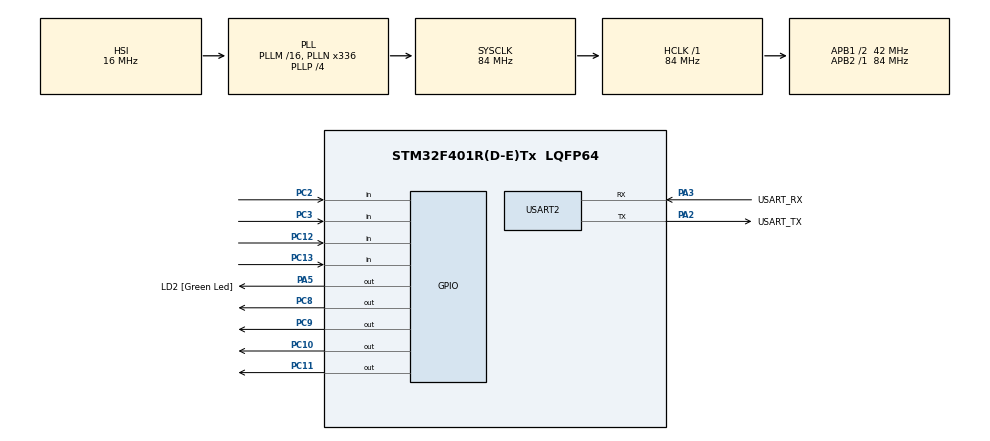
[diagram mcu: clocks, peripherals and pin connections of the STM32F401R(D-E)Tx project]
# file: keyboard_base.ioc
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Mcu.Family=STM32F4
Mcu.Name=STM32F401R(D-E)Tx
Mcu.Package=LQFP64
NVIC.PriorityGroup=NVIC_PRIORITYGROUP_0
PA13.GPIO_Label=TMS
PA13.Mode=Serial_Wire
PA13.Signal=SYS_JTMS-SWDIO
PA14.GPIO_Label=TCK
PA14.Mode=Serial_Wire
PA14.Signal=SYS_JTCK-SWCLK
PA2.GPIO_Label=USART_TX
PA2.GPIO_Mode=GPIO_MODE_AF_PP
PA2.GPIO_PuPd=GPIO_NOPULL
PA2.GPIO_Speed=GPIO_SPEED_FREQ_LOW
PA2.Mode=Asynchronous
PA2.Signal=USART2_TX
PA3.GPIO_Label=USART_RX
PA3.GPIO_Mode=GPIO_MODE_AF_PP
PA3.GPIO_PuPd=GPIO_NOPULL
PA3.GPIO_Speed=GPIO_SPEED_FREQ_LOW
PA3.Mode=Asynchronous
PA3.Signal=USART2_RX
PA5.GPIO_Label=LD2 [Green Led]
PA5.GPIO_Mode=GPIO_MODE_OUTPUT_PP
PA5.GPIO_PuPd=GPIO_NOPULL
PA5.GPIO_Speed=GPIO_SPEED_FREQ_LOW
PA5.Signal=GPIO_Output
PB3.GPIO_Label=SWO
PB3.Signal=SYS_JTDO-SWO
PC10.Signal=GPIO_Output
PC11.Signal=GPIO_Output
PC12.Signal=GPIO_Input
PC13-ANTI_TAMP.Signal=GPIO_Input
PC14-OSC32_IN.Mode=LSE-External-Oscillator
PC14-OSC32_IN.Signal=RCC_OSC32_IN
PC15-OSC32_OUT.Mode=LSE-External-Oscillator
PC15-OSC32_OUT.Signal=RCC_OSC32_OUT
PC2.Signal=GPIO_Input
PC3.Signal=GPIO_Input
PC8.Signal=GPIO_Output
PC9.Signal=GPIO_Output
PH0\ -\ OSC_IN.Mode=HSE-External-Clock-Source
PH0\ -\ OSC_IN.Signal=RCC_OSC_IN
PH1\ -\ OSC_OUT.Mode=HSE-External-Clock-Source
PH1\ -\ OSC_OUT.Signal=RCC_OSC_OUT
ProjectManager.HeapSize=0x200
ProjectManager.StackSize=0x400
ProjectManager.TargetToolchain=STM32CubeIDE
RCC.48MHZClocksFreq_Value=48000000
RCC.AHBFreq_Value=84000000
RCC.APB1CLKDivider=RCC_HCLK_DIV2
RCC.APB1Freq_Value=42000000
RCC.APB1TimFreq_Value=84000000
RCC.APB2Freq_Value=84000000
RCC.APB2TimFreq_Value=84000000
RCC.CortexFreq_Value=84000000
RCC.HCLKFreq_Value=84000000
RCC.HSE_VALUE=8000000
RCC.HSI_VALUE=16000000
RCC.PLLN=336
RCC.PLLP=RCC_PLLP_DIV4
RCC.PLLQ=7
RCC.SYSCLKFreq_VALUE=84000000
RCC.SYSCLKSource=RCC_SYSCLKSOURCE_PLLCLK
RCC.VCOOutputFreq_Value=336000000
USART2.VirtualMode=VM_ASYNC
board=NUCLEO-F401RE

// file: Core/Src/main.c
/* USER CODE BEGIN Header */
/**
  ******************************************************************************
  * @file           : main.c
  * @brief          : Main program body
  ******************************************************************************
  * @attention
  *
  * <h2><center>&copy; Copyright (c) 2021 STMicroelectronics.
  * All rights reserved.</center></h2>
  *
  * This software component is licensed by ST under BSD 3-Clause license,
  * the "License"; You may not use this file except in compliance with the
  * License. You may obtain a copy of the License at:
  *                        opensource.org/licenses/BSD-3-Clause
  *
  ******************************************************************************
  */
/* USER CODE END Header */
#include "main.h"

/* USER CODE BEGIN PD */

/*
 * Row inputs
 */
//#define ROW1 GPIOC, GPIO_PIN_12
//#define ROW2 GPIOC, GPIO_PIN_13
//#define ROW3 GPIOC, GPIO_PIN_2
//#define ROW4 GPIOC, GPIO_PIN_3

/*
 * Column outputs
 */
//#define COL1 GPIOC, GPIO_PIN_8
//#define COL2 GPIOC, GPIO_PIN_9
//#define COL3 GPIOC, GPIO_PIN_10
//#define COL4 GPIOC, GPIO_PIN_11

#define ROW_NUM 4
#define COL_NUM 4

/* USER CODE END PD */

UART_HandleTypeDef huart2;

/* USER CODE BEGIN PV */
typedef struct {
	GPIO_TypeDef* port;
	uint16_t pin;
}GPIO_Tuple;

GPIO_Tuple ROW0 = {GPIOC, GPIO_PIN_12};
GPIO_Tuple ROW1 = {GPIOC, GPIO_PIN_13};
GPIO_Tuple ROW2 = {GPIOC, GPIO_PIN_2};
GPIO_Tuple ROW3 = {GPIOC, GPIO_PIN_3};

GPIO_Tuple ROWS[4];

GPIO_Tuple COL0 = {GPIOC, GPIO_PIN_8};
GPIO_Tuple COL1 = {GPIOC, GPIO_PIN_9};
GPIO_Tuple COL2 = {GPIOC, GPIO_PIN_10};
GPIO_Tuple COL3 = {GPIOC, GPIO_PIN_11};

GPIO_Tuple COLS[4];

char SYMBOLS[4][4];

/* USER CODE END PV */

void SystemClock_Config(void);
static void MX_GPIO_Init(void);
static void MX_USART2_UART_Init(void);

/* USER CODE BEGIN 0 */
void rows_Init(){
	ROWS[0] = ROW0;
	ROWS[1] = ROW1;
	ROWS[2] = ROW2;
	ROWS[3] = ROW3;
}

void columns_Init(){
	COLS[0] = COL0;
	COLS[1] = COL1;
	COLS[2] = COL2;
	COLS[3] = COL3;
}

void symbols_Init(){
	SYMBOLS[0][0] = '0';
	SYMBOLS[0][1] = '1';
	SYMBOLS[0][2] = '2';
	SYMBOLS[0][3] = '3';
	SYMBOLS[1][0] = '4';
	SYMBOLS[1][1] = '5';
	SYMBOLS[1][2] = '6';
	SYMBOLS[1][3] = '7';
	SYMBOLS[2][0] = '8';
	SYMBOLS[2][1] = '9';
	SYMBOLS[2][2] = 'A';
	SYMBOLS[2][3] = 'B';
	SYMBOLS[3][0] = 'C';
	SYMBOLS[3][1] = 'D';
	SYMBOLS[3][2] = 'E';
	SYMBOLS[3][3] = 'F';
}
/* USER CODE END 0 */

int main(void)
{

  /* MCU Configuration--------------------------------------------------------*/

  /* Reset of all peripherals, Initializes the Flash interface and the Systick. */
  HAL_Init();

  /* Configure the system clock */
  SystemClock_Config();

  /* USER CODE BEGIN SysInit */
  rows_Init();
  columns_Init();
  symbols_Init();
  /* USER CODE END SysInit */

  /* Initialize all configured peripherals */
  MX_GPIO_Init();
  MX_USART2_UART_Init();
  /* USER CODE BEGIN 2 */

  uint8_t buffer[100];
  uint8_t buflen = 0;
  uint8_t isPressed = 0;
  uint8_t longPress[4][4] = {0}; //checks if a key has been released or not

  /* USER CODE END 2 */

  /* Infinite loop */
  /* USER CODE BEGIN WHILE */
  while (1)
  {
	  for (int i = 0; i < COL_NUM; i++) {
		  HAL_GPIO_WritePin(COLS[i].port, COLS[i].pin, 1);
		  for (int j = 0; j < ROW_NUM; j++) {
			  HAL_Delay(1);
			  isPressed = !HAL_GPIO_ReadPin(ROWS[j].port, ROWS[j].pin);

			  if (isPressed) {
				  if (!longPress[j][i]) {
					  buflen = snprintf(buffer, sizeof(buffer), "%c", SYMBOLS[j][i]);
					  HAL_UART_Transmit(&huart2, buffer, buflen, 100);
					  longPress[j][i] = 1;
				  }
			  }
			  else{
				  longPress[j][i] = 0;
			  }
		  }
		  HAL_GPIO_WritePin(COLS[i].port, COLS[i].pin, 0);
	  }

    /* USER CODE END WHILE */

  }
}

void SystemClock_Config(void)
{
  RCC_OscInitTypeDef RCC_OscInitStruct = {0};
  RCC_ClkInitTypeDef RCC_ClkInitStruct = {0};

  /** Configure the main internal regulator output voltage
  */
  __HAL_RCC_PWR_CLK_ENABLE();
  __HAL_PWR_VOLTAGESCALING_CONFIG(PWR_REGULATOR_VOLTAGE_SCALE2);
  /** Initializes the RCC Oscillators according to the specified parameters
  * in the RCC_OscInitTypeDef structure.
  */
  RCC_OscInitStruct.OscillatorType = RCC_OSCILLATORTYPE_HSI;
  RCC_OscInitStruct.HSIState = RCC_HSI_ON;
  RCC_OscInitStruct.HSICalibrationValue = RCC_HSICALIBRATION_DEFAULT;
  RCC_OscInitStruct.PLL.PLLState = RCC_PLL_ON;
  RCC_OscInitStruct.PLL.PLLSource = RCC_PLLSOURCE_HSI;
  RCC_OscInitStruct.PLL.PLLM = 16;
  RCC_OscInitStruct.PLL.PLLN = 336;
  RCC_OscInitStruct.PLL.PLLP = RCC_PLLP_DIV4;
  RCC_OscInitStruct.PLL.PLLQ = 7;
  if (HAL_RCC_OscConfig(&RCC_OscInitStruct) != HAL_OK)
  {
    Error_Handler();
  }
  /** Initializes the CPU, AHB and APB buses clocks
  */
  RCC_ClkInitStruct.ClockType = RCC_CLOCKTYPE_HCLK|RCC_CLOCKTYPE_SYSCLK
                              |RCC_CLOCKTYPE_PCLK1|RCC_CLOCKTYPE_PCLK2;
  RCC_ClkInitStruct.SYSCLKSource = RCC_SYSCLKSOURCE_PLLCLK;
  RCC_ClkInitStruct.AHBCLKDivider = RCC_SYSCLK_DIV1;
  RCC_ClkInitStruct.APB1CLKDivider = RCC_HCLK_DIV2;
  RCC_ClkInitStruct.APB2CLKDivider = RCC_HCLK_DIV1;

  if (HAL_RCC_ClockConfig(&RCC_ClkInitStruct, FLASH_LATENCY_2) != HAL_OK)
  {
    Error_Handler();
  }
}

static void MX_USART2_UART_Init(void)
{

  huart2.Instance = USART2;
  huart2.Init.BaudRate = 115200;
  huart2.Init.WordLength = UART_WORDLENGTH_8B;
  huart2.Init.StopBits = UART_STOPBITS_1;
  huart2.Init.Parity = UART_PARITY_NONE;
  huart2.Init.Mode = UART_MODE_TX_RX;
  huart2.Init.HwFlowCtl = UART_HWCONTROL_NONE;
  huart2.Init.OverSampling = UART_OVERSAMPLING_16;
  if (HAL_UART_Init(&huart2) != HAL_OK)
  {
    Error_Handler();
  }

}

static void MX_GPIO_Init(void)
{
  GPIO_InitTypeDef GPIO_InitStruct = {0};

  /* GPIO Ports Clock Enable */
  __HAL_RCC_GPIOC_CLK_ENABLE();
  __HAL_RCC_GPIOH_CLK_ENABLE();
  __HAL_RCC_GPIOA_CLK_ENABLE();
  __HAL_RCC_GPIOB_CLK_ENABLE();

  /*Configure GPIO pin Output Level */
  HAL_GPIO_WritePin(LD2_GPIO_Port, LD2_Pin, GPIO_PIN_RESET);

  /*Configure GPIO pin Output Level */
  HAL_GPIO_WritePin(GPIOC, GPIO_PIN_8|GPIO_PIN_9|GPIO_PIN_10|GPIO_PIN_11, GPIO_PIN_RESET);

  /*Configure GPIO pins : PC13 PC2 PC3 PC12 */
  GPIO_InitStruct.Pin = GPIO_PIN_13|GPIO_PIN_2|GPIO_PIN_3|GPIO_PIN_12;
  GPIO_InitStruct.Mode = GPIO_MODE_INPUT;
  GPIO_InitStruct.Pull = GPIO_NOPULL;
  HAL_GPIO_Init(GPIOC, &GPIO_InitStruct);

  /*Configure GPIO pin : LD2_Pin */
  GPIO_InitStruct.Pin = LD2_Pin;
  GPIO_InitStruct.Mode = GPIO_MODE_OUTPUT_PP;
  GPIO_InitStruct.Pull = GPIO_NOPULL;
  GPIO_InitStruct.Speed = GPIO_SPEED_FREQ_LOW;
  HAL_GPIO_Init(LD2_GPIO_Port, &GPIO_InitStruct);

  /*Configure GPIO pins : PC8 PC9 PC10 PC11 */
  GPIO_InitStruct.Pin = GPIO_PIN_8|GPIO_PIN_9|GPIO_PIN_10|GPIO_PIN_11;
  GPIO_InitStruct.Mode = GPIO_MODE_OUTPUT_PP;
  GPIO_InitStruct.Pull = GPIO_NOPULL;
  GPIO_InitStruct.Speed = GPIO_SPEED_FREQ_LOW;
  HAL_GPIO_Init(GPIOC, &GPIO_InitStruct);

}

void Error_Handler(void)
{
  __disable_irq();
  while (1)
  {
  }
}

/************************ (C) COPYRIGHT STMicroelectronics *****END OF FILE****/
